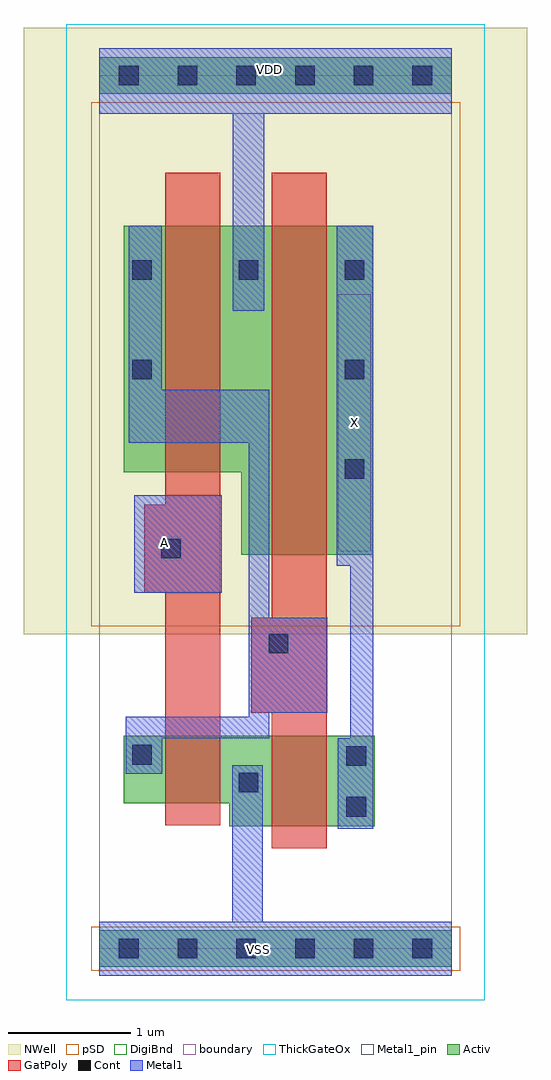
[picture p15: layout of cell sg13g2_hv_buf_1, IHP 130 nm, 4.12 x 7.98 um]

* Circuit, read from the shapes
.subckt sg13g2_hv_buf_1 A VDD VSS X
XM1 VSS A n1 VSS sg13_hv_nmos w=0.55u l=0.45u
XM2 X n1 VSS VSS sg13_hv_nmos w=0.74u l=0.45u
XM3 VDD A n1 VDD sg13_hv_pmos w=2.015u l=0.45u
XM4 X n1 VDD VDD sg13_hv_pmos w=2.69u l=0.45u
.ends

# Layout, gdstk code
import gdstk
lib = gdstk.Library(unit=1e-6, precision=1e-09)
def R(c, l, rs):  # rectangles x0, y0, x1, y1
    for r in rs: c.add(gdstk.rectangle(r[:2], r[2:], *l))
def A(c, l, x, y, w, h, nx, ny, dx, dy):  # array of equal rectangles
    R(c, l, [(x+i*dx, y+j*dy, x+i*dx+w, y+j*dy+h) for i in range(nx) for j in range(ny)])
def P(c, l, *ps):  # polygons
    for p in ps: c.add(gdstk.Polygon(p, *l))
Activ = (1, 0)
GatPoly = (5, 0)
Cont = (6, 0)
Metal1 = (8, 0)
Metal1_pin = (8, 2)
pSD = (14, 0)
DigiBnd = (16, 0)
NWell = (31, 0)
ThickGateOx = (44, 0)
boundary = (189, 4)

sg13g2_hv_buf_1 = lib.new_cell('sg13g2_hv_buf_1')
R(sg13g2_hv_buf_1, Activ, [(0,-0.15,2.88,0.15), (0,6.99,2.88,7.29)])
P(sg13g2_hv_buf_1, Activ, [(1.06,1),(1.06,1.19),(0.2,1.19),(0.2,1.74),(2.25,1.74),(2.25,1)],
  [(1.16,3.22),(1.16,3.895),(0.2,3.895),(0.2,5.91),(2.235,5.91),(2.235,3.22)])
P(sg13g2_hv_buf_1, GatPoly, [(1.41,0.82),(1.41,1.93),(1.24,1.93),(1.24,2.705),(1.41,2.705),(1.41,6.345),(1.86,6.345),(1.86,0.82)],
  [(0.54,1.01),(0.54,2.91),(0.365,2.91),(0.365,3.63),(0.54,3.63),(0.54,6.345),(0.99,6.345),(0.99,1.01)])
A(sg13g2_hv_buf_1, Cont, 0.16, -0.08, 0.16, 0.16, 6, 2, 0.48, 7.14)
A(sg13g2_hv_buf_1, Cont, 2.005, 3.84, 0.16, 0.16, 1, 3, 0, 0.815)
R(sg13g2_hv_buf_1, Cont, [(2.02,1.08,2.18,1.24), (1.14,1.28,1.3,1.44), (2.02,1.495,2.18,1.655), (0.27,1.505,0.43,1.665), (1.385,2.415,1.545,2.575), (0.505,3.19,0.665,3.35), (0.27,4.655,0.43,4.815), (0.27,5.47,0.43,5.63), (1.14,5.47,1.3,5.63)])
R(sg13g2_hv_buf_1, Metal1, [(0.285,2.91,1,3.705)])
P(sg13g2_hv_buf_1, Metal1, [(0.215,1.43),(0.215,1.895),(1.22,1.895),(1.22,4.135),(0.24,4.135),(0.24,5.91),(0.51,5.91),(0.51,4.57),(1.39,4.57),(1.39,2.705),(1.865,2.705),(1.865,1.93),(1.39,1.93),(1.39,1.72),(0.515,1.72),(0.515,1.43)],
  [(1.95,0.98),(1.95,1.72),(2.05,1.72),(2.05,3.13),(1.94,3.13),(1.94,5.91),(2.24,5.91),(2.24,0.98)],
  [(0,-0.22),(0,0.22),(1.085,0.22),(1.085,1.5),(1.335,1.5),(1.335,0.22),(2.88,0.22),(2.88,-0.22)],
  [(1.09,5.215),(1.09,6.825),(0,6.825),(0,7.36),(2.88,7.36),(2.88,6.825),(1.35,6.825),(1.35,5.215)])
R(sg13g2_hv_buf_1, Metal1_pin, [(0,-0.22,2.88,0.22), (0.285,2.91,1,3.705), (1.955,3.25,2.22,5.35), (1.955,3.25,2.22,5.35), (0,6.825,2.88,7.36)])
R(sg13g2_hv_buf_1, pSD, [(-0.065,-0.18,2.95,0.18), (-0.065,2.635,2.95,6.92)])
R(sg13g2_hv_buf_1, DigiBnd, [(0,0,2.88,7.14)])
R(sg13g2_hv_buf_1, NWell, [(-0.62,2.57,3.5,7.53)])
R(sg13g2_hv_buf_1, ThickGateOx, [(-0.27,-0.42,3.15,7.56)])
R(sg13g2_hv_buf_1, boundary, [(0,0,2.88,7.14)])
sg13g2_hv_buf_1.add(gdstk.Label('X', (2.09,4.305), layer=8, texttype=25))
sg13g2_hv_buf_1.add(gdstk.Label('A', (0.53,3.32), layer=8, texttype=25))
sg13g2_hv_buf_1.add(gdstk.Label('VSS', (1.3,-0.01), layer=8, texttype=25))
sg13g2_hv_buf_1.add(gdstk.Label('VDD', (1.39,7.19), layer=8, texttype=25))

lib.write_gds('sg13g2_hv_buf_1.gds')
